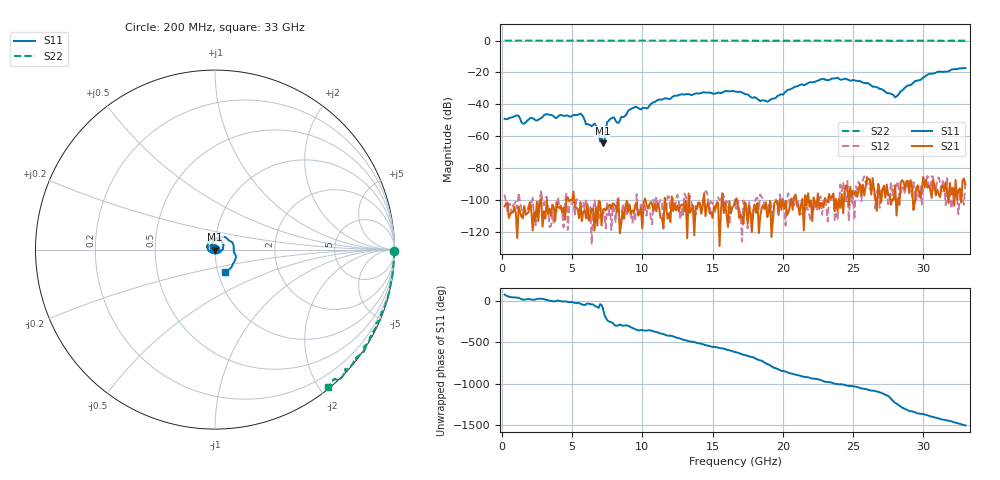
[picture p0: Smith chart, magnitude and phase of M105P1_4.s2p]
# GHZ S RI R 50
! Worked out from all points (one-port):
!   329 points, 200 MHz to 33 GHz, reference 50 ohm
!   lowest |S11| = -64.4 dB at 7.2 GHz (marker M1), VSWR 1.00, Z = 50 - j0.0598 ohm
!   |S11| at or under -10 dB: start of sweep to end of sweep
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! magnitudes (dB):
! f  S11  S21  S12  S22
! 200 MHz  -49.0  -103.9  -96.5  0.0
! 1.1 GHz  -46.8  -123.8  -105.2  0.0
! 1.6 GHz  -52.0  -103.8  -105.5  0.0
! 3.1 GHz  -46.3  -111.7  -98.7  0.0
! 5.7 GHz  -46.6  -113.2  -104.4  0.0
! 6 GHz  -52.6  -111.4  -99.4  0.0
! 6.6 GHz  -52.1  -119.0  -100.1  0.0
! 7.2 GHz  -64.4  -107.1  -105.9  0.0
! 7.3 GHz  -63.7  -105.3  -108.8  0.0
! 7.5 GHz  -51.1  -104.6  -100.9  -0.1
! 7.7 GHz  -49.2  -103.0  -102.9  0.0
! 8.3 GHz  -51.7  -98.9  -101.6  0.0
! 9.2 GHz  -42.9  -108.8  -110.3  0.0
! 11.2 GHz  -37.1  -105.3  -102.0  0.0
! 16.6 GHz  -32.0  -101.9  -99.7  -0.1
! 18.9 GHz  -38.4  -110.7  -106.7  0.0
! 22.1 GHz  -26.2  -113.2  -106.2  0.0
! 24.5 GHz  -23.9  -90.9  -101.5  0.0
! 27.6 GHz  -33.0  -97.1  -100.6  0.0
! 28 GHz  -35.6  -90.7  -91.7  0.0
! 30.4 GHz  -20.9  -91.1  -91.5  0.0
! 33 GHz  -17.3  -90.3  -88.2  -0.1
